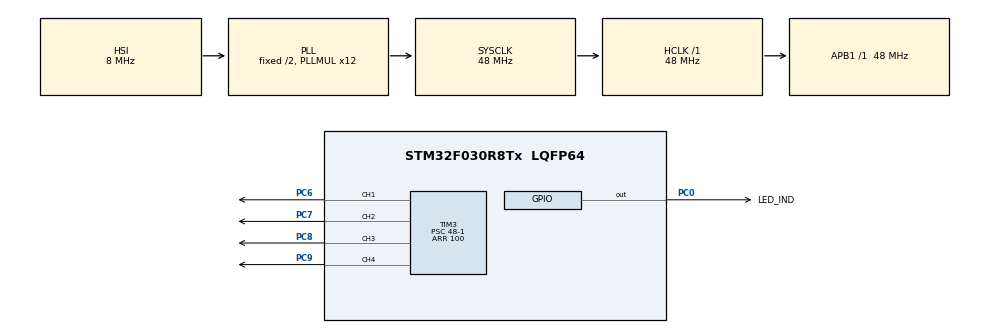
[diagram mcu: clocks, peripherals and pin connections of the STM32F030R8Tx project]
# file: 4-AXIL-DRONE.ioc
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FREERTOS.Tasks01=defaultTask,24,128,StartDefaultTask,Default,NULL,Dynamic,NULL,NULL
FREERTOS.configMINIMAL_STACK_SIZE=64
FREERTOS.configTOTAL_HEAP_SIZE=2048
Mcu.Family=STM32F0
Mcu.Name=STM32F030R8Tx
Mcu.Package=LQFP64
PA13.Mode=Serial_Wire
PA13.Signal=SYS_SWDIO
PA14.Mode=Serial_Wire
PA14.Signal=SYS_SWCLK
PC0.GPIO_Label=LED_IND
PC0.Signal=GPIO_Output
PC6.Signal=S_TIM3_CH1
PC7.Signal=S_TIM3_CH2
PC8.Signal=S_TIM3_CH3
PC9.Signal=S_TIM3_CH4
ProjectManager.HeapSize=0x200
ProjectManager.StackSize=0x400
ProjectManager.TargetToolchain=STM32CubeIDE
RCC.AHBFreq_Value=48000000
RCC.APB1Freq_Value=48000000
RCC.APB1TimFreq_Value=48000000
RCC.HCLKFreq_Value=48000000
RCC.PLLMUL=RCC_PLL_MUL12
RCC.SYSCLKFreq_VALUE=48000000
RCC.SYSCLKSource=RCC_SYSCLKSOURCE_PLLCLK
SH.S_TIM3_CH1.0=TIM3_CH1,PWM Generation1 CH1
SH.S_TIM3_CH2.0=TIM3_CH2,PWM Generation2 CH2
SH.S_TIM3_CH3.0=TIM3_CH3,PWM Generation3 CH3
SH.S_TIM3_CH4.0=TIM3_CH4,PWM Generation4 CH4
TIM3.Channel-PWM\ Generation1\ CH1=TIM_CHANNEL_1
TIM3.Channel-PWM\ Generation2\ CH2=TIM_CHANNEL_2
TIM3.Channel-PWM\ Generation3\ CH3=TIM_CHANNEL_3
TIM3.Channel-PWM\ Generation4\ CH4=TIM_CHANNEL_4
TIM3.CounterMode=TIM_COUNTERMODE_UP
TIM3.Period=100
TIM3.Prescaler=48-1
TIM3.Pulse-PWM\ Generation1\ CH1=1
TIM3.Pulse-PWM\ Generation2\ CH2=1
TIM3.Pulse-PWM\ Generation3\ CH3=1
TIM3.Pulse-PWM\ Generation4\ CH4=1
VP_FREERTOS_VS_CMSIS_V2.Mode=CMSIS_V2
VP_TIM3_VS_ClockSourceINT.Mode=Internal
board=custom

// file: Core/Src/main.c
/* USER CODE BEGIN Header */
/**
  ******************************************************************************
  * @file           : main.c
  * @brief          : Main program body
  ******************************************************************************
  * @attention
  *
  * Copyright (c) 2025 STMicroelectronics.
  * All rights reserved.
  *
  * This software is licensed under terms that can be found in the LICENSE file
  * in the root directory of this software component.
  * If no LICENSE file comes with this software, it is provided AS-IS.
  *
  ******************************************************************************
  */
/* USER CODE END Header */
#include "main.h"
#include "cmsis_os.h"
#include "tim.h"
#include "gpio.h"

/* USER CODE BEGIN Includes */
#include "FreeRTOS_test_funcs.h"
/* USER CODE END Includes */

void SystemClock_Config(void);
void MX_FREERTOS_Init(void);

int main(void)
{

  /* MCU Configuration--------------------------------------------------------*/

  /* Reset of all peripherals, Initializes the Flash interface and the Systick. */
  HAL_Init();

  /* Configure the system clock */
  SystemClock_Config();

  /* Initialize all configured peripherals */
  MX_GPIO_Init();
  MX_TIM3_Init();
  /* USER CODE BEGIN 2 */
  HAL_TIM_PWM_Start(&htim3, TIM_CHANNEL_1);
  HAL_TIM_PWM_Start(&htim3, TIM_CHANNEL_2);
  HAL_TIM_PWM_Start(&htim3, TIM_CHANNEL_3);//Channel1 and 2 was configured as AF_MCO automatically by CUBE, be aware of that
  HAL_TIM_PWM_Start(&htim3, TIM_CHANNEL_4);
  /* USER CODE END 2 */

  /* Init scheduler */
  osKernelInitialize();  /* Call init function for freertos objects (in freertos.c) */
  MX_FREERTOS_Init();

  /* Start scheduler */
  osKernelStart();
  /* We should never get here as control is now taken by the scheduler */
  /* Infinite loop */
  while (1)
  {

  }
}

void SystemClock_Config(void)
{
  RCC_OscInitTypeDef RCC_OscInitStruct = {0};
  RCC_ClkInitTypeDef RCC_ClkInitStruct = {0};

  /** Initializes the RCC Oscillators according to the specified parameters
  * in the RCC_OscInitTypeDef structure.
  */
  RCC_OscInitStruct.OscillatorType = RCC_OSCILLATORTYPE_HSI;
  RCC_OscInitStruct.HSIState = RCC_HSI_ON;
  RCC_OscInitStruct.HSICalibrationValue = RCC_HSICALIBRATION_DEFAULT;
  RCC_OscInitStruct.PLL.PLLState = RCC_PLL_ON;
  RCC_OscInitStruct.PLL.PLLSource = RCC_PLLSOURCE_HSI;
  RCC_OscInitStruct.PLL.PLLMUL = RCC_PLL_MUL12;
  RCC_OscInitStruct.PLL.PREDIV = RCC_PREDIV_DIV1;
  if (HAL_RCC_OscConfig(&RCC_OscInitStruct) != HAL_OK)
  {
    Error_Handler();
  }

  /** Initializes the CPU, AHB and APB buses clocks
  */
  RCC_ClkInitStruct.ClockType = RCC_CLOCKTYPE_HCLK|RCC_CLOCKTYPE_SYSCLK
                                    |RCC_CLOCKTYPE_PCLK1;
  RCC_ClkInitStruct.SYSCLKSource = RCC_SYSCLKSOURCE_PLLCLK;
  RCC_ClkInitStruct.AHBCLKDivider = RCC_SYSCLK_DIV1;
  RCC_ClkInitStruct.APB1CLKDivider = RCC_HCLK_DIV1;

  if (HAL_RCC_ClockConfig(&RCC_ClkInitStruct, FLASH_LATENCY_1) != HAL_OK)
  {
    Error_Handler();
  }
}

void Error_Handler(void)
{
  __disable_irq();
  while (1)
  {
  }
}

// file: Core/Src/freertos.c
/* USER CODE BEGIN Header */
/**
  ******************************************************************************
  * File Name          : freertos.c
  * Description        : Code for freertos applications
  ******************************************************************************
  * @attention
  *
  * Copyright (c) 2025 STMicroelectronics.
  * All rights reserved.
  *
  * This software is licensed under terms that can be found in the LICENSE file
  * in the root directory of this software component.
  * If no LICENSE file comes with this software, it is provided AS-IS.
  *
  ******************************************************************************
  */
/* USER CODE END Header */

#include "FreeRTOS.h"
#include "task.h"
#include "main.h"
#include "cmsis_os.h"

/* USER CODE BEGIN Includes */
#include "FreeRTOS_test_funcs.h"
/* USER CODE END Includes */

/* USER CODE BEGIN Variables */
static StackType_t g_pucStackOfWinTask[128];
static StaticTask_t g_TCBofWinTask;
static TaskHandle_t xWin_Task_Handel;

static StackType_t g_pucStackOfLEDTask[128];
static StaticTask_t g_TCBofLEDTask;
static TaskHandle_t xLED_Task_Handel;
/* USER CODE END Variables */
/* Definitions for defaultTask */
osThreadId_t defaultTaskHandle;
const osThreadAttr_t defaultTask_attributes = {
  .name = "defaultTask",
  .stack_size = 128 * 4,
  .priority = (osPriority_t) osPriorityNormal,
};

void StartDefaultTask(void *argument);

void MX_FREERTOS_Init(void); /* (MISRA C 2004 rule 8.1) */

void MX_FREERTOS_Init(void) {
  /* USER CODE BEGIN Init */

	BaseType_t ret;
  /* USER CODE END Init */

  /* Create the thread(s) */
  /* creation of defaultTask */
  defaultTaskHandle = osThreadNew(StartDefaultTask, NULL, &defaultTask_attributes);

  /* USER CODE BEGIN RTOS_THREADS */
  /* add threads, ... */
  /*My_Drone LED control*/
//  ret = xTaskCreate(LED_Test, "LED_Blink",128,NULL,osPriorityNormal,&xLED_Task_Handel);
  /*My_Drone BT module reading*/

  /*My_Drone WS2812 control*/

  /*My_Drone Win1 control*/
  xWin_Task_Handel = xTaskCreateStatic(Win4_Test, "WinTask",128,NULL, osPriorityNormal, g_pucStackOfWinTask, &g_TCBofWinTask);

  /*My_Drone Win2 control*/

  /* USER CODE END RTOS_THREADS */

}

void StartDefaultTask(void *argument)
{
  /* USER CODE BEGIN StartDefaultTask */
  /* Infinite loop */
  for(;;)
  {
	LED_Test();
    osDelay(1);
  }
  /* USER CODE END StartDefaultTask */
}
